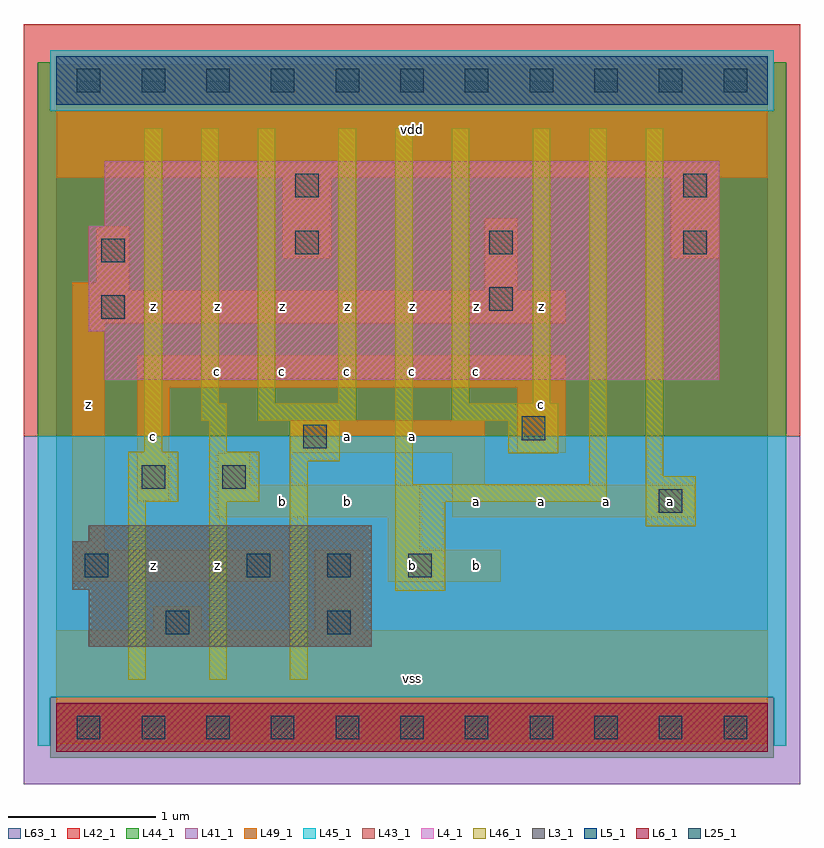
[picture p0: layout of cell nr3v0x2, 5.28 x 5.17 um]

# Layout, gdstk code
import gdstk
lib = gdstk.Library(unit=1e-6, precision=1e-09)
def R(c, l, rs):  # rectangles x0, y0, x1, y1
    for r in rs: c.add(gdstk.rectangle(r[:2], r[2:], *l))
def A(c, l, x, y, w, h, nx, ny, dx, dy):  # array of equal rectangles
    R(c, l, [(x+i*dx, y+j*dy, x+i*dx+w, y+j*dy+h) for i in range(nx) for j in range(ny)])
L3_1 = (3, 1)
L4_1 = (4, 1)
L5_1 = (5, 1)
L6_1 = (6, 1)
L25_1 = (25, 1)
L41_1 = (41, 1)
L42_1 = (42, 1)
L43_1 = (43, 1)
L44_1 = (44, 1)
L45_1 = (45, 1)
L46_1 = (46, 1)
L49_1 = (49, 1)
L63_1 = (63, 1)

nr3v0x2 = lib.new_cell('nr3v0x2')
R(nr3v0x2, L3_1, [(0.22,0.55,2.145,0.935), (0.11,0.935,2.145,1.265), (0.22,1.265,2.145,1.375)])
R(nr3v0x2, L4_1, [(0.33,2.365,4.51,2.695), (0.22,2.695,4.51,3.41), (0.33,3.41,4.51,3.85)])
R(nr3v0x2, L5_1, [(0,4.235,4.84,4.565)])
R(nr3v0x2, L6_1, [(0,-0.165,4.84,0.165)])
A(nr3v0x2, L25_1, 0.14, -0.08, 0.16, 0.16, 11, 2, 0.44, 4.4)
A(nr3v0x2, L25_1, 1.295, 1.02, 0.16, 0.16, 3, 1, 0.55, 0)
A(nr3v0x2, L25_1, 1.625, 3.22, 0.16, 0.16, 3, 1, 1.32, 0)
R(nr3v0x2, L25_1, [(0.745,0.635,0.905,0.795), (1.845,0.635,2.005,0.795), (0.195,1.02,0.355,1.18), (4.1,1.46,4.26,1.62), (0.58,1.625,0.74,1.785), (1.13,1.625,1.29,1.785), (1.68,1.9,1.84,2.06), (3.165,1.955,3.325,2.115), (0.305,2.78,0.465,2.94), (2.945,2.835,3.105,2.995), (0.305,3.165,0.465,3.325), (1.625,3.605,1.785,3.765), (4.265,3.605,4.425,3.765)])
R(nr3v0x2, L41_1, [(-0.22,-0.385,5.06,1.98)])
R(nr3v0x2, L42_1, [(-0.22,1.98,5.06,4.785)])
R(nr3v0x2, L43_1, [(0,-0.165,4.84,0.165), (0.22,0.55,2.145,0.935), (0.11,0.935,2.145,1.265), (0.22,1.265,2.145,1.375), (0.33,2.365,4.51,2.695), (0.22,2.695,4.51,3.41), (0.33,3.41,4.51,3.85), (0,4.235,4.84,4.565)])
R(nr3v0x2, L44_1, [(-0.04,-0.205,4.88,0.205), (-0.125,1.98,4.965,4.195), (-0.125,4.195,-0.04,4.525), (4.88,4.195,4.965,4.525)])
R(nr3v0x2, L45_1, [(-0.125,-0.125,-0.04,0.205), (4.88,-0.125,4.965,0.205), (-0.125,0.205,4.965,1.98), (-0.04,4.195,4.88,4.605)])
R(nr3v0x2, L46_1, [(0.49,0.325,0.61,1.535), (1.04,0.325,1.16,1.535), (1.59,0.325,1.71,1.81), (2.305,0.93,2.645,1.535), (4.01,1.37,4.35,1.71), (0.49,1.535,0.83,1.875), (1.04,1.535,1.38,1.875), (2.305,1.535,3.745,1.655), (2.305,1.655,2.425,4.075), (3.625,1.655,3.745,4.075), (4.01,1.71,4.13,4.075), (1.59,1.81,1.93,2.085), (3.075,1.865,3.415,2.085), (0.6,1.875,0.72,4.075), (1.04,1.875,1.16,2.085), (0.985,2.085,1.16,2.205), (1.37,2.085,2.04,2.205), (2.69,2.085,3.415,2.205), (0.985,2.205,1.105,4.075), (1.37,2.205,1.49,4.075), (1.92,2.205,2.04,4.075), (2.69,2.205,2.81,4.075), (3.24,2.205,3.36,4.075)])
R(nr3v0x2, L49_1, [(0,-0.11,4.84,0.66), (0.66,0.66,0.99,0.825), (1.76,0.66,2.09,1.21), (0.11,0.99,1.54,1.21), (2.255,0.99,3.025,1.21), (0.11,1.21,0.33,2.75), (2.255,1.21,2.475,1.43), (1.1,1.43,2.475,1.65), (2.695,1.43,4.345,1.65), (0.55,1.54,0.77,2.31), (1.1,1.65,1.32,1.87), (2.695,1.65,2.915,1.87), (1.595,1.87,2.915,2.09), (3.135,1.87,3.465,2.31), (0.55,2.31,3.465,2.53), (0.11,2.75,3.465,2.97), (0.11,2.97,0.495,3.025), (2.915,2.97,3.135,3.465), (0.275,3.025,0.495,3.41), (1.54,3.19,1.87,3.74), (4.18,3.19,4.51,3.74), (0,3.74,4.84,4.51)])
R(nr3v0x2, L63_1, [(0,0,4.84,4.4)])
nr3v0x2.add(gdstk.Label('z', (0.66,1.1), layer=49, texttype=1))
nr3v0x2.add(gdstk.Label('z', (0.22,2.2), layer=49, texttype=1))
nr3v0x2.add(gdstk.Label('c', (0.66,1.98), layer=49, texttype=1))
nr3v0x2.add(gdstk.Label('z', (0.66,2.86), layer=49, texttype=1))
nr3v0x2.add(gdstk.Label('z', (1.1,1.1), layer=49, texttype=1))
nr3v0x2.add(gdstk.Label('b', (1.54,1.54), layer=49, texttype=1))
nr3v0x2.add(gdstk.Label('c', (1.1,2.42), layer=49, texttype=1))
nr3v0x2.add(gdstk.Label('c', (1.54,2.42), layer=49, texttype=1))
nr3v0x2.add(gdstk.Label('z', (1.1,2.86), layer=49, texttype=1))
nr3v0x2.add(gdstk.Label('z', (1.54,2.86), layer=49, texttype=1))
nr3v0x2.add(gdstk.Label('vss', (2.42,0.33), layer=49, texttype=1))
nr3v0x2.add(gdstk.Label('b', (1.98,1.54), layer=49, texttype=1))
nr3v0x2.add(gdstk.Label('b', (2.42,1.1), layer=49, texttype=1))
nr3v0x2.add(gdstk.Label('a', (1.98,1.98), layer=49, texttype=1))
nr3v0x2.add(gdstk.Label('c', (1.98,2.42), layer=49, texttype=1))
nr3v0x2.add(gdstk.Label('a', (2.42,1.98), layer=49, texttype=1))
nr3v0x2.add(gdstk.Label('c', (2.42,2.42), layer=49, texttype=1))
nr3v0x2.add(gdstk.Label('z', (2.42,2.86), layer=49, texttype=1))
nr3v0x2.add(gdstk.Label('z', (1.98,2.86), layer=49, texttype=1))
nr3v0x2.add(gdstk.Label('vdd', (2.42,4.07), layer=49, texttype=1))
nr3v0x2.add(gdstk.Label('b', (2.86,1.1), layer=49, texttype=1))
nr3v0x2.add(gdstk.Label('a', (2.86,1.54), layer=49, texttype=1))
nr3v0x2.add(gdstk.Label('a', (3.3,1.54), layer=49, texttype=1))
nr3v0x2.add(gdstk.Label('a', (3.74,1.54), layer=49, texttype=1))
nr3v0x2.add(gdstk.Label('c', (2.86,2.42), layer=49, texttype=1))
nr3v0x2.add(gdstk.Label('c', (3.3,2.2), layer=49, texttype=1))
nr3v0x2.add(gdstk.Label('z', (3.3,2.86), layer=49, texttype=1))
nr3v0x2.add(gdstk.Label('z', (2.86,2.86), layer=49, texttype=1))
nr3v0x2.add(gdstk.Label('a', (4.18,1.54), layer=49, texttype=1))

lib.write_gds('nr3v0x2.gds')
